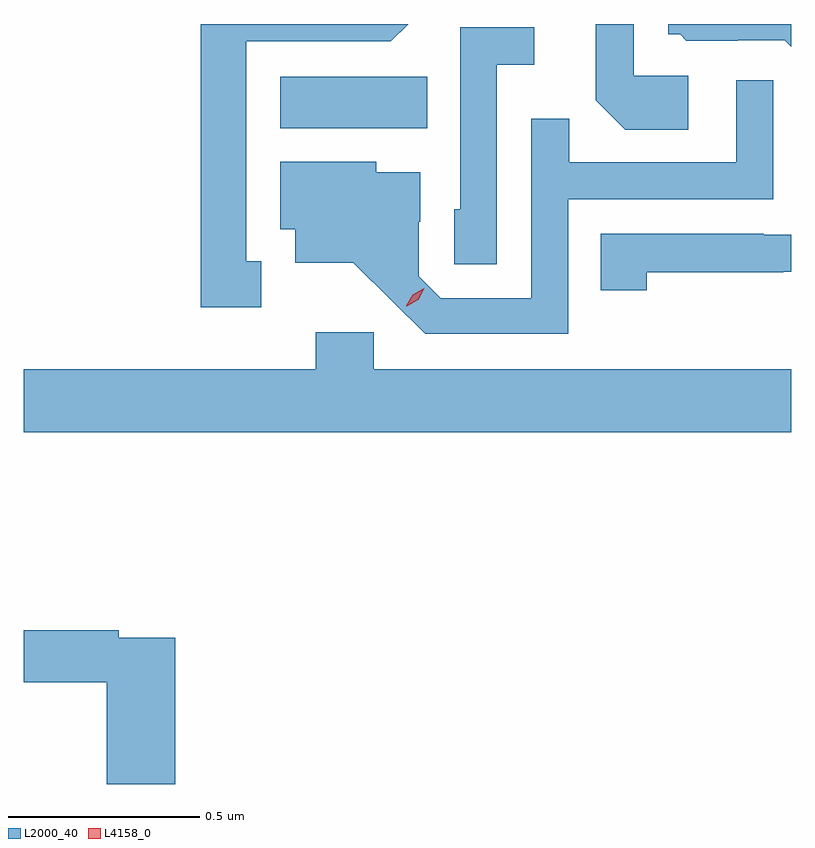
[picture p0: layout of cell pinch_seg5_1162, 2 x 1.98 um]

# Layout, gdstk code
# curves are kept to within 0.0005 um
import gdstk
lib = gdstk.Library(unit=1e-6, precision=1e-09)
def R(c, l, rs):  # rectangles x0, y0, x1, y1
    for r in rs: c.add(gdstk.rectangle(r[:2], r[2:], *l))
def P(c, l, *ps):  # polygons
    for p in ps: c.add(gdstk.Polygon(p, *l))
L2000_40 = (2000, 40)
L4158_0 = (4158, 0)

pinch_seg5_1162 = lib.new_cell('pinch_seg5_1162')
R(pinch_seg5_1162, L2000_40, [(756.752,842.9,757.136,843.034)])
P(pinch_seg5_1162, L2000_40, [(756.703,842.553),(756.664,842.553),(756.664,843.126),(757.041,843.126),(757.086,843.171),(756.546,843.171),(756.546,842.433),(756.703,842.433)],
  [(757.816,843.036),(757.674,843.036),(757.674,843.171),(757.575,843.171),(757.575,842.972),(757.651,842.896),(757.816,842.896)],
  [(758.084,843.171),(757.763,843.171),(757.763,843.144),(757.794,843.144),(757.81,843.128),(757.944,843.128),(757.944,843.129),(758.067,843.129),(758.084,843.112)],
  [(757.317,843.065),(757.414,843.065),(757.414,843.162),(757.221,843.162),(757.221,842.688),(757.206,842.688),(757.206,842.545),(757.317,842.545)],
  [(757.503,842.715),(758.037,842.715),(758.037,843.025),(757.941,843.025),(757.941,842.811),(757.505,842.811),(757.505,842.924),(757.407,842.924),(757.407,842.457),(757.17,842.457),(757.113,842.514),(757.113,842.656),(757.117,842.656),(757.117,842.785),(757.002,842.785),(757.002,842.812),(756.752,842.812),(756.752,842.636),(756.791,842.636),(756.791,842.549),(756.943,842.549),(757.13,842.364),(757.503,842.364)],
  [(757.707,842.524),(758.063,842.524),(758.063,842.525),(758.084,842.525),(758.084,842.622),(758.012,842.622),(758.012,842.625),(757.588,842.625),(757.588,842.478),(757.707,842.478)],
  [(758.084,842.272),(756.996,842.272),(756.996,842.368),(756.845,842.368),(756.845,842.272),(756.084,842.272),(756.084,842.108),(758.084,842.108)],
  [(756.479,841.572),(756.332,841.572),(756.332,841.592),(756.084,841.592),(756.084,841.456),(756.301,841.456),(756.301,841.191),(756.479,841.191)])
P(pinch_seg5_1162, L4158_0, [(757.081,842.436),(757.081,842.437),(757.098,842.466),(757.128,842.482),(757.128,842.482),(757.128,842.482),(757.112,842.452),(757.082,842.436)])

lib.write_gds('pinch_seg5_1162.gds')
